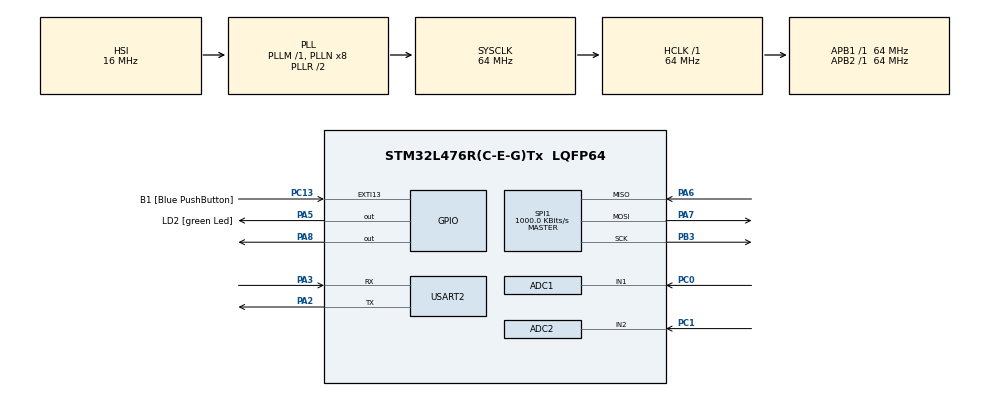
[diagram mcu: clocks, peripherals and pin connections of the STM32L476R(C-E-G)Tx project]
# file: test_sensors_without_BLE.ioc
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ADC1.Channel-2\#ChannelRegularConversion=ADC_CHANNEL_1
ADC1.NbrOfConversionFlag=1
ADC1.OffsetNumber-2\#ChannelRegularConversion=ADC_OFFSET_NONE
ADC1.Rank-2\#ChannelRegularConversion=1
ADC1.SamplingTime-2\#ChannelRegularConversion=ADC_SAMPLETIME_2CYCLES_5
ADC1.master=1
ADC2.Channel-2\#ChannelRegularConversion=ADC_CHANNEL_2
ADC2.NbrOfConversionFlag=1
ADC2.OffsetNumber-2\#ChannelRegularConversion=ADC_OFFSET_NONE
ADC2.Rank-2\#ChannelRegularConversion=1
ADC2.SamplingTime-2\#ChannelRegularConversion=ADC_SAMPLETIME_2CYCLES_5
Mcu.Family=STM32L4
Mcu.Name=STM32L476R(C-E-G)Tx
Mcu.Package=LQFP64
NVIC.EXTI15_10_IRQn=true\:0\:0\:false\:false\:true\:true\:true\:true
NVIC.PriorityGroup=NVIC_PRIORITYGROUP_4
PA13\ (JTMS-SWDIO).GPIO_Label=TMS
PA13\ (JTMS-SWDIO).Mode=Serial_Wire
PA13\ (JTMS-SWDIO).Signal=SYS_JTMS-SWDIO
PA14\ (JTCK-SWCLK).GPIO_Label=TCK
PA14\ (JTCK-SWCLK).Mode=Serial_Wire
PA14\ (JTCK-SWCLK).Signal=SYS_JTCK-SWCLK
PA2.Mode=Asynchronous
PA2.Signal=USART2_TX
PA3.Mode=Asynchronous
PA3.Signal=USART2_RX
PA5.GPIO_Label=LD2 [green Led]
PA5.GPIO_ModeDefaultOutputPP=GPIO_MODE_OUTPUT_PP
PA5.GPIO_PuPd=GPIO_NOPULL
PA5.GPIO_Speed=GPIO_SPEED_FREQ_LOW
PA5.Signal=GPIO_Output
PA6.Mode=Full_Duplex_Master
PA6.Signal=SPI1_MISO
PA7.Mode=Full_Duplex_Master
PA7.Signal=SPI1_MOSI
PA8.Signal=GPIO_Output
PB3\ (JTDO-TRACESWO).Mode=Full_Duplex_Master
PB3\ (JTDO-TRACESWO).Signal=SPI1_SCK
PC0.Signal=ADCx_IN1
PC1.Signal=ADCx_IN2
PC13.GPIO_Label=B1 [Blue PushButton]
PC13.GPIO_ModeDefaultEXTI=GPIO_MODE_IT_FALLING
PC13.GPIO_PuPd=GPIO_NOPULL
PC13.Signal=GPXTI13
PC14-OSC32_IN\ (PC14).Mode=LSE-External-Oscillator
PC14-OSC32_IN\ (PC14).Signal=RCC_OSC32_IN
PC15-OSC32_OUT\ (PC15).Mode=LSE-External-Oscillator
PC15-OSC32_OUT\ (PC15).Signal=RCC_OSC32_OUT
PH0-OSC_IN\ (PH0).Signal=RCC_OSC_IN
PH1-OSC_OUT\ (PH1).Signal=RCC_OSC_OUT
ProjectManager.HeapSize=0x200
ProjectManager.StackSize=0x400
ProjectManager.TargetToolchain=STM32CubeIDE
RCC.ADCFreq_Value=64000000
RCC.AHBFreq_Value=64000000
RCC.APB1Freq_Value=64000000
RCC.APB1TimFreq_Value=64000000
RCC.APB2Freq_Value=64000000
RCC.APB2TimFreq_Value=64000000
RCC.CortexFreq_Value=64000000
RCC.HCLKFreq_Value=64000000
RCC.HSE_VALUE=8000000
RCC.HSI_VALUE=16000000
RCC.MSI_VALUE=4000000
RCC.PLLSourceVirtual=RCC_PLLSOURCE_HSI
RCC.PREFETCH_ENABLE=1
RCC.SYSCLKFreq_VALUE=64000000
RCC.SYSCLKSource=RCC_SYSCLKSOURCE_PLLCLK
RCC.USBFreq_Value=64000000
RCC.VCOOutputFreq_Value=128000000
SH.ADCx_IN1.0=ADC2_IN1
SH.ADCx_IN1.1=ADC1_IN1,IN1-Single-Ended
SH.ADCx_IN2.0=ADC2_IN2,IN2-Single-Ended
SPI1.BaudRatePrescaler=SPI_BAUDRATEPRESCALER_64
SPI1.CLKPhase=SPI_PHASE_2EDGE
SPI1.CalculateBaudRate=1000.0 KBits/s
SPI1.DataSize=SPI_DATASIZE_8BIT
SPI1.Direction=SPI_DIRECTION_2LINES
SPI1.Mode=SPI_MODE_MASTER
SPI1.VirtualType=VM_MASTER
USART2.VirtualMode-Asynchronous=VM_ASYNC
board=NUCLEO-L476RG

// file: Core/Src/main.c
/* USER CODE BEGIN Header */
/**
 ******************************************************************************
 * @file           : main.c
 * @brief          : Main program body
 ******************************************************************************
 * @attention
 *
 * Copyright (c) 2023 STMicroelectronics.
 * All rights reserved.
 *
 * This software is licensed under terms that can be found in the LICENSE file
 * in the root directory of this software component.
 * If no LICENSE file comes with this software, it is provided AS-IS.
 *
 ******************************************************************************
 */
/* USER CODE END Header */
#include "main.h"

/* USER CODE BEGIN PD */
#define MOISTURE_SENSOR_PORT GPIOC
#define MOISTURE_SENSOR_PIN GPIO_PIN_0
#define WATERLEVEL_SENSOR_PORT GPIOC
#define WATERLEVEL_SENSOR_PIN GPIO_PIN_1

/* USER CODE END PD */

ADC_HandleTypeDef hadc1;
ADC_HandleTypeDef hadc2;

SPI_HandleTypeDef hspi1;

UART_HandleTypeDef huart2;

void SystemClock_Config(void);
void PeriphCommonClock_Config(void);
static void MX_GPIO_Init(void);
static void MX_ADC1_Init(void);
static void MX_ADC2_Init(void);
static void MX_SPI1_Init(void);
static void MX_USART2_UART_Init(void);

/* USER CODE BEGIN 0 */
uint32_t count = 0;
/* USER CODE END 0 */

int main(void)
{

  /* MCU Configuration--------------------------------------------------------*/

  /* Reset of all peripherals, Initializes the Flash interface and the Systick. */
  HAL_Init();

  /* Configure the system clock */
  SystemClock_Config();

/* Configure the peripherals common clocks */
  PeriphCommonClock_Config();

  /* Initialize all configured peripherals */
  MX_GPIO_Init();
  MX_ADC1_Init();
  MX_ADC2_Init();
  MX_SPI1_Init();
  MX_USART2_UART_Init();

  /* Infinite loop */
	while (1)
	{

    /* USER CODE BEGIN 3 */
		uint32_t moisture_value = HAL_GPIO_ReadPin(GPIOC, GPIO_PIN_0);
		uint32_t waterlevel_value = HAL_GPIO_ReadPin(GPIOC, GPIO_PIN_1);

        // Lire la valeur du capteur analogique
        if (HAL_ADC_Start(&hadc1) != HAL_OK) {
            Error_Handler();
        }
        if (HAL_ADC_Start(&hadc2) != HAL_OK) {
            Error_Handler();
        }

        // Attendre la fin de la conversion
        if (HAL_ADC_PollForConversion(&hadc1, HAL_MAX_DELAY) != HAL_OK) {
            Error_Handler();
        }
        if (HAL_ADC_PollForConversion(&hadc2, HAL_MAX_DELAY) != HAL_OK) {
            Error_Handler();
        }
        // Lire la valeur convertie
        waterlevel_value = HAL_ADC_GetValue(&hadc1);
        moisture_value = HAL_ADC_GetValue(&hadc2);

		// COM UART FOR DEBUG
		char uart_buffer[50];
		sprintf(uart_buffer, "Moisture = %lu\r\n", moisture_value);
		HAL_UART_Transmit(&huart2, (uint8_t *)uart_buffer, strlen(uart_buffer), HAL_MAX_DELAY);
		sprintf(uart_buffer, "Waterlevel = %lu\r\n", waterlevel_value);
		HAL_UART_Transmit(&huart2, (uint8_t *)uart_buffer, strlen(uart_buffer), HAL_MAX_DELAY);

		// COUNT IN UART DEBUG
		sprintf(uart_buffer, "count = %lu\r\n", count=count+1);
		HAL_UART_Transmit(&huart2, (uint8_t *)uart_buffer, strlen(uart_buffer), HAL_MAX_DELAY);

		HAL_Delay(1000); // WAIT 1 SEC
	}
  /* USER CODE END 3 */
}

void SystemClock_Config(void)
{
  RCC_OscInitTypeDef RCC_OscInitStruct = {0};
  RCC_ClkInitTypeDef RCC_ClkInitStruct = {0};

  /** Configure the main internal regulator output voltage
  */
  if (HAL_PWREx_ControlVoltageScaling(PWR_REGULATOR_VOLTAGE_SCALE1) != HAL_OK)
  {
    Error_Handler();
  }

  /** Initializes the RCC Oscillators according to the specified parameters
  * in the RCC_OscInitTypeDef structure.
  */
  RCC_OscInitStruct.OscillatorType = RCC_OSCILLATORTYPE_HSI;
  RCC_OscInitStruct.HSIState = RCC_HSI_ON;
  RCC_OscInitStruct.HSICalibrationValue = RCC_HSICALIBRATION_DEFAULT;
  RCC_OscInitStruct.PLL.PLLState = RCC_PLL_ON;
  RCC_OscInitStruct.PLL.PLLSource = RCC_PLLSOURCE_HSI;
  RCC_OscInitStruct.PLL.PLLM = 1;
  RCC_OscInitStruct.PLL.PLLN = 8;
  RCC_OscInitStruct.PLL.PLLP = RCC_PLLP_DIV7;
  RCC_OscInitStruct.PLL.PLLQ = RCC_PLLQ_DIV2;
  RCC_OscInitStruct.PLL.PLLR = RCC_PLLR_DIV2;
  if (HAL_RCC_OscConfig(&RCC_OscInitStruct) != HAL_OK)
  {
    Error_Handler();
  }

  /** Initializes the CPU, AHB and APB buses clocks
  */
  RCC_ClkInitStruct.ClockType = RCC_CLOCKTYPE_HCLK|RCC_CLOCKTYPE_SYSCLK
                              |RCC_CLOCKTYPE_PCLK1|RCC_CLOCKTYPE_PCLK2;
  RCC_ClkInitStruct.SYSCLKSource = RCC_SYSCLKSOURCE_PLLCLK;
  RCC_ClkInitStruct.AHBCLKDivider = RCC_SYSCLK_DIV1;
  RCC_ClkInitStruct.APB1CLKDivider = RCC_HCLK_DIV1;
  RCC_ClkInitStruct.APB2CLKDivider = RCC_HCLK_DIV1;

  if (HAL_RCC_ClockConfig(&RCC_ClkInitStruct, FLASH_LATENCY_3) != HAL_OK)
  {
    Error_Handler();
  }
}

void PeriphCommonClock_Config(void)
{
  RCC_PeriphCLKInitTypeDef PeriphClkInit = {0};

  /** Initializes the peripherals clock
  */
  PeriphClkInit.PeriphClockSelection = RCC_PERIPHCLK_ADC;
  PeriphClkInit.AdcClockSelection = RCC_ADCCLKSOURCE_PLLSAI1;
  PeriphClkInit.PLLSAI1.PLLSAI1Source = RCC_PLLSOURCE_HSI;
  PeriphClkInit.PLLSAI1.PLLSAI1M = 1;
  PeriphClkInit.PLLSAI1.PLLSAI1N = 8;
  PeriphClkInit.PLLSAI1.PLLSAI1P = RCC_PLLP_DIV7;
  PeriphClkInit.PLLSAI1.PLLSAI1Q = RCC_PLLQ_DIV2;
  PeriphClkInit.PLLSAI1.PLLSAI1R = RCC_PLLR_DIV2;
  PeriphClkInit.PLLSAI1.PLLSAI1ClockOut = RCC_PLLSAI1_ADC1CLK;
  if (HAL_RCCEx_PeriphCLKConfig(&PeriphClkInit) != HAL_OK)
  {
    Error_Handler();
  }
}

static void MX_ADC1_Init(void)
{

  ADC_MultiModeTypeDef multimode = {0};
  ADC_ChannelConfTypeDef sConfig = {0};

  /** Common config
  */
  hadc1.Instance = ADC1;
  hadc1.Init.ClockPrescaler = ADC_CLOCK_ASYNC_DIV1;
  hadc1.Init.Resolution = ADC_RESOLUTION_12B;
  hadc1.Init.DataAlign = ADC_DATAALIGN_RIGHT;
  hadc1.Init.ScanConvMode = ADC_SCAN_DISABLE;
  hadc1.Init.EOCSelection = ADC_EOC_SINGLE_CONV;
  hadc1.Init.LowPowerAutoWait = DISABLE;
  hadc1.Init.ContinuousConvMode = DISABLE;
  hadc1.Init.NbrOfConversion = 1;
  hadc1.Init.DiscontinuousConvMode = DISABLE;
  hadc1.Init.ExternalTrigConv = ADC_SOFTWARE_START;
  hadc1.Init.ExternalTrigConvEdge = ADC_EXTERNALTRIGCONVEDGE_NONE;
  hadc1.Init.DMAContinuousRequests = DISABLE;
  hadc1.Init.Overrun = ADC_OVR_DATA_PRESERVED;
  hadc1.Init.OversamplingMode = DISABLE;
  if (HAL_ADC_Init(&hadc1) != HAL_OK)
  {
    Error_Handler();
  }

  /** Configure the ADC multi-mode
  */
  multimode.Mode = ADC_MODE_INDEPENDENT;
  if (HAL_ADCEx_MultiModeConfigChannel(&hadc1, &multimode) != HAL_OK)
  {
    Error_Handler();
  }

  /** Configure Regular Channel
  */
  sConfig.Channel = ADC_CHANNEL_1;
  sConfig.Rank = ADC_REGULAR_RANK_1;
  sConfig.SamplingTime = ADC_SAMPLETIME_2CYCLES_5;
  sConfig.SingleDiff = ADC_SINGLE_ENDED;
  sConfig.OffsetNumber = ADC_OFFSET_NONE;
  sConfig.Offset = 0;
  if (HAL_ADC_ConfigChannel(&hadc1, &sConfig) != HAL_OK)
  {
    Error_Handler();
  }

}

static void MX_ADC2_Init(void)
{

  ADC_ChannelConfTypeDef sConfig = {0};

  /** Common config
  */
  hadc2.Instance = ADC2;
  hadc2.Init.ClockPrescaler = ADC_CLOCK_ASYNC_DIV1;
  hadc2.Init.Resolution = ADC_RESOLUTION_12B;
  hadc2.Init.DataAlign = ADC_DATAALIGN_RIGHT;
  hadc2.Init.ScanConvMode = ADC_SCAN_DISABLE;
  hadc2.Init.EOCSelection = ADC_EOC_SINGLE_CONV;
  hadc2.Init.LowPowerAutoWait = DISABLE;
  hadc2.Init.ContinuousConvMode = DISABLE;
  hadc2.Init.NbrOfConversion = 1;
  hadc2.Init.DiscontinuousConvMode = DISABLE;
  hadc2.Init.ExternalTrigConv = ADC_SOFTWARE_START;
  hadc2.Init.ExternalTrigConvEdge = ADC_EXTERNALTRIGCONVEDGE_NONE;
  hadc2.Init.DMAContinuousRequests = DISABLE;
  hadc2.Init.Overrun = ADC_OVR_DATA_PRESERVED;
  hadc2.Init.OversamplingMode = DISABLE;
  if (HAL_ADC_Init(&hadc2) != HAL_OK)
  {
    Error_Handler();
  }

  /** Configure Regular Channel
  */
  sConfig.Channel = ADC_CHANNEL_2;
  sConfig.Rank = ADC_REGULAR_RANK_1;
  sConfig.SamplingTime = ADC_SAMPLETIME_2CYCLES_5;
  sConfig.SingleDiff = ADC_SINGLE_ENDED;
  sConfig.OffsetNumber = ADC_OFFSET_NONE;
  sConfig.Offset = 0;
  if (HAL_ADC_ConfigChannel(&hadc2, &sConfig) != HAL_OK)
  {
    Error_Handler();
  }

}

static void MX_SPI1_Init(void)
{

  /* SPI1 parameter configuration*/
  hspi1.Instance = SPI1;
  hspi1.Init.Mode = SPI_MODE_MASTER;
  hspi1.Init.Direction = SPI_DIRECTION_2LINES;
  hspi1.Init.DataSize = SPI_DATASIZE_8BIT;
  hspi1.Init.CLKPolarity = SPI_POLARITY_LOW;
  hspi1.Init.CLKPhase = SPI_PHASE_2EDGE;
  hspi1.Init.NSS = SPI_NSS_SOFT;
  hspi1.Init.BaudRatePrescaler = SPI_BAUDRATEPRESCALER_64;
  hspi1.Init.FirstBit = SPI_FIRSTBIT_MSB;
  hspi1.Init.TIMode = SPI_TIMODE_DISABLE;
  hspi1.Init.CRCCalculation = SPI_CRCCALCULATION_DISABLE;
  hspi1.Init.CRCPolynomial = 7;
  hspi1.Init.CRCLength = SPI_CRC_LENGTH_DATASIZE;
  hspi1.Init.NSSPMode = SPI_NSS_PULSE_DISABLE;
  if (HAL_SPI_Init(&hspi1) != HAL_OK)
  {
    Error_Handler();
  }

}

static void MX_USART2_UART_Init(void)
{

  huart2.Instance = USART2;
  huart2.Init.BaudRate = 115200;
  huart2.Init.WordLength = UART_WORDLENGTH_8B;
  huart2.Init.StopBits = UART_STOPBITS_1;
  huart2.Init.Parity = UART_PARITY_NONE;
  huart2.Init.Mode = UART_MODE_TX_RX;
  huart2.Init.HwFlowCtl = UART_HWCONTROL_NONE;
  huart2.Init.OverSampling = UART_OVERSAMPLING_16;
  huart2.Init.OneBitSampling = UART_ONE_BIT_SAMPLE_DISABLE;
  huart2.AdvancedInit.AdvFeatureInit = UART_ADVFEATURE_NO_INIT;
  if (HAL_UART_Init(&huart2) != HAL_OK)
  {
    Error_Handler();
  }

}

static void MX_GPIO_Init(void)
{
  GPIO_InitTypeDef GPIO_InitStruct = {0};

  /* GPIO Ports Clock Enable */
  __HAL_RCC_GPIOC_CLK_ENABLE();
  __HAL_RCC_GPIOH_CLK_ENABLE();
  __HAL_RCC_GPIOA_CLK_ENABLE();
  __HAL_RCC_GPIOB_CLK_ENABLE();

  /*Configure GPIO pin Output Level */
  HAL_GPIO_WritePin(GPIOA, GPIO_PIN_8, GPIO_PIN_RESET);

  /*Configure GPIO pin : PA8 */
  GPIO_InitStruct.Pin = GPIO_PIN_8;
  GPIO_InitStruct.Mode = GPIO_MODE_OUTPUT_PP;
  GPIO_InitStruct.Pull = GPIO_NOPULL;
  GPIO_InitStruct.Speed = GPIO_SPEED_FREQ_LOW;
  HAL_GPIO_Init(GPIOA, &GPIO_InitStruct);

  /* EXTI interrupt init*/
  HAL_NVIC_SetPriority(EXTI15_10_IRQn, 0, 0);
  HAL_NVIC_EnableIRQ(EXTI15_10_IRQn);

}

void Error_Handler(void)
{
	__disable_irq();
	while (1)
	{
	}
}
